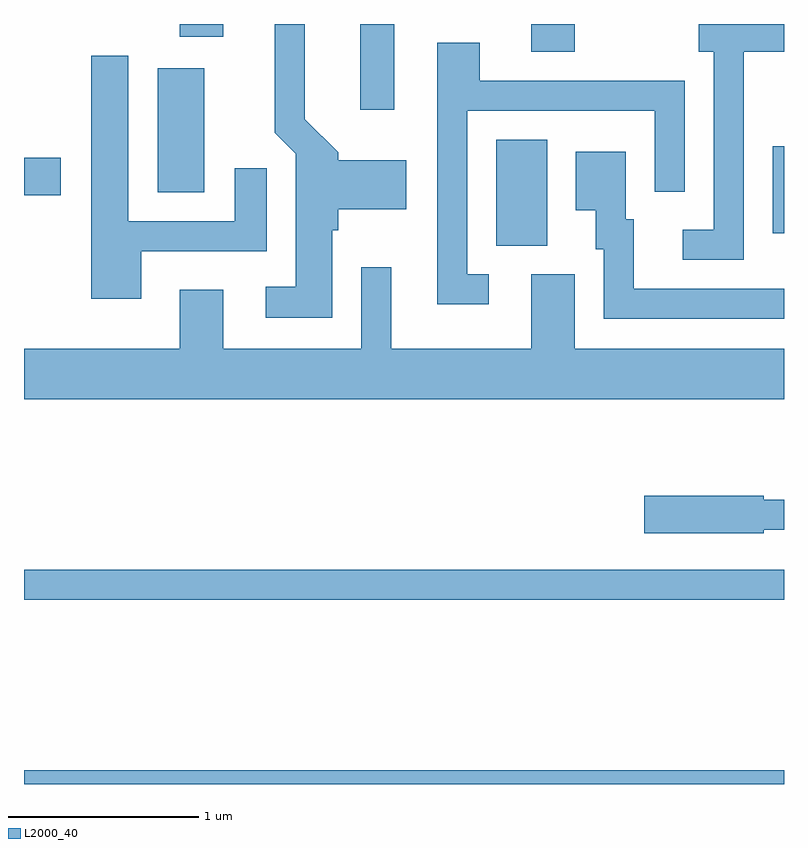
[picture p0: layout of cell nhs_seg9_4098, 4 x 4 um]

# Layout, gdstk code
import gdstk
lib = gdstk.Library(unit=1e-6, precision=1e-09)
def R(c, l, rs):  # rectangles x0, y0, x1, y1
    for r in rs: c.add(gdstk.rectangle(r[:2], r[2:], *l))
def P(c, l, *ps):  # polygons
    for p in ps: c.add(gdstk.Polygon(p, *l))
L2000_40 = (2000, 40)

nhs_seg9_4098 = lib.new_cell('nhs_seg9_4098')
R(nhs_seg9_4098, L2000_40, [(305.611,2016.432,309.611,2016.504), (305.611,2017.401,309.611,2017.559), (308.096,2019.266,308.364,2019.824), (309.551,2019.331,309.611,2019.789), (305.611,2019.531,305.804,2019.729), (306.316,2019.546,306.559,2020.199), (307.381,2019.981,307.559,2020.432), (308.281,2020.286,308.509,2020.432), (306.431,2020.366,306.659,2020.432)])
P(nhs_seg9_4098, L2000_40, [(309.399,2020.286),(309.611,2020.286),(309.611,2020.432),(309.163,2020.432),(309.163,2020.286),(309.241,2020.286),(309.241,2019.349),(309.078,2019.349),(309.078,2019.191),(309.399,2019.191)],
  [(307.234,2019.346),(307.264,2019.346),(307.264,2019.456),(307.624,2019.456),(307.624,2019.714),(307.264,2019.714),(307.264,2019.757),(307.089,2019.932),(307.089,2020.432),(306.931,2020.432),(306.931,2019.859),(307.041,2019.749),(307.041,2019.049),(306.883,2019.049),(306.883,2018.886),(307.234,2018.886)],
  [(308.058,2019.114),(307.944,2019.114),(307.944,2019.976),(308.931,2019.976),(308.931,2019.548),(309.089,2019.548),(309.089,2020.134),(308.009,2020.134),(308.009,2020.334),(307.786,2020.334),(307.786,2018.956),(308.058,2018.956)],
  [(306.229,2019.236),(306.889,2019.236),(306.889,2019.673),(306.721,2019.673),(306.721,2019.394),(306.159,2019.394),(306.159,2020.264),(305.966,2020.264),(305.966,2018.986),(306.229,2018.986)],
  [(309.611,2019.039),(308.819,2019.039),(308.819,2019.404),(308.779,2019.404),(308.779,2019.759),(308.516,2019.759),(308.516,2019.451),(308.621,2019.451),(308.621,2019.246),(308.661,2019.246),(308.661,2018.881),(309.611,2018.881)],
  [(309.611,2018.724),(308.509,2018.724),(308.509,2019.114),(308.281,2019.114),(308.281,2018.724),(307.544,2018.724),(307.544,2019.153),(307.386,2019.153),(307.386,2018.724),(306.659,2018.724),(306.659,2019.034),(306.431,2019.034),(306.431,2018.724),(305.611,2018.724),(305.611,2018.456),(309.611,2018.456)],
  [(309.504,2017.771),(309.611,2017.771),(309.611,2017.929),(309.504,2017.929),(309.504,2017.949),(308.876,2017.949),(308.876,2017.751),(309.504,2017.751)])

lib.write_gds('nhs_seg9_4098.gds')
